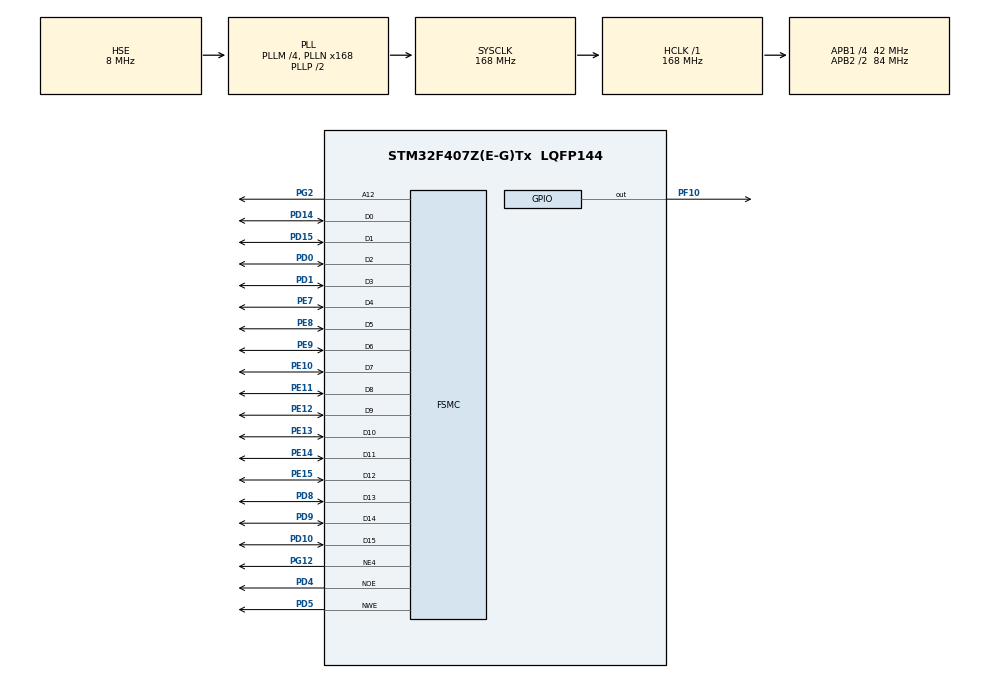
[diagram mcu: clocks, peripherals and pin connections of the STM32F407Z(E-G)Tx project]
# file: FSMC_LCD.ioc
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Mcu.Family=STM32F4
Mcu.Name=STM32F407Z(E-G)Tx
Mcu.Package=LQFP144
NVIC.PriorityGroup=NVIC_PRIORITYGROUP_4
NVIC.TIM7_IRQn=true\:0\:0\:false\:false\:true\:true\:true\:true
PA13.Mode=Serial_Wire
PA13.Signal=SYS_JTMS-SWDIO
PA14.Mode=Serial_Wire
PA14.Signal=SYS_JTCK-SWCLK
PD0.Signal=FSMC_D2_DA2
PD1.Signal=FSMC_D3_DA3
PD10.Signal=FSMC_D15_DA15
PD14.Signal=FSMC_D0_DA0
PD15.Signal=FSMC_D1_DA1
PD4.Signal=FSMC_NOE
PD5.Signal=FSMC_NWE
PD8.Signal=FSMC_D13_DA13
PD9.Signal=FSMC_D14_DA14
PE10.Signal=FSMC_D7_DA7
PE11.Signal=FSMC_D8_DA8
PE12.Signal=FSMC_D9_DA9
PE13.Signal=FSMC_D10_DA10
PE14.Signal=FSMC_D11_DA11
PE15.Signal=FSMC_D12_DA12
PE7.Signal=FSMC_D4_DA4
PE8.Signal=FSMC_D5_DA5
PE9.Signal=FSMC_D6_DA6
PF10.Signal=GPIO_Output
PG12.Mode=NorPsramChipSelect4_4
PG12.Signal=FSMC_NE4
PG2.Signal=FSMC_A12
PH0-OSC_IN.Mode=HSE-External-Oscillator
PH0-OSC_IN.Signal=RCC_OSC_IN
PH1-OSC_OUT.Mode=HSE-External-Oscillator
PH1-OSC_OUT.Signal=RCC_OSC_OUT
ProjectManager.HeapSize=0x400
ProjectManager.StackSize=0x1000
ProjectManager.TargetToolchain=MDK-ARM V5.32
RCC.48MHZClocksFreq_Value=84000000
RCC.AHBFreq_Value=168000000
RCC.APB1CLKDivider=RCC_HCLK_DIV4
RCC.APB1Freq_Value=42000000
RCC.APB1TimFreq_Value=84000000
RCC.APB2CLKDivider=RCC_HCLK_DIV2
RCC.APB2Freq_Value=84000000
RCC.APB2TimFreq_Value=168000000
RCC.CortexFreq_Value=168000000
RCC.HCLKFreq_Value=168000000
RCC.HSE_VALUE=8000000
RCC.HSI_VALUE=16000000
RCC.LSE_VALUE=32768
RCC.PLLM=4
RCC.PLLN=168
RCC.PLLSourceVirtual=RCC_PLLSOURCE_HSE
RCC.SYSCLKFreq_VALUE=168000000
RCC.SYSCLKSource=RCC_SYSCLKSOURCE_PLLCLK
RCC.VCOOutputFreq_Value=336000000
SH.FSMC_A12.0=FSMC_A12,A12_4
SH.FSMC_D0_DA0.0=FSMC_D0,16b-d4
SH.FSMC_D10_DA10.0=FSMC_D10,16b-d4
SH.FSMC_D11_DA11.0=FSMC_D11,16b-d4
SH.FSMC_D12_DA12.0=FSMC_D12,16b-d4
SH.FSMC_D13_DA13.0=FSMC_D13,16b-d4
SH.FSMC_D14_DA14.0=FSMC_D14,16b-d4
SH.FSMC_D15_DA15.0=FSMC_D15,16b-d4
SH.FSMC_D1_DA1.0=FSMC_D1,16b-d4
SH.FSMC_D2_DA2.0=FSMC_D2,16b-d4
SH.FSMC_D3_DA3.0=FSMC_D3,16b-d4
SH.FSMC_D4_DA4.0=FSMC_D4,16b-d4
SH.FSMC_D5_DA5.0=FSMC_D5,16b-d4
SH.FSMC_D6_DA6.0=FSMC_D6,16b-d4
SH.FSMC_D7_DA7.0=FSMC_D7,16b-d4
SH.FSMC_D8_DA8.0=FSMC_D8,16b-d4
SH.FSMC_D9_DA9.0=FSMC_D9,16b-d4
SH.FSMC_NOE.0=FSMC_NOE,Lcd4
SH.FSMC_NWE.0=FSMC_NWE,Lcd4
TIM7.Period=1000-1
TIM7.Prescaler=168/2-1
VP_TIM7_VS_ClockSourceINT.Mode=Enable_Timer
board=custom

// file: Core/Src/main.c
/* USER CODE BEGIN Header */
/**
  ******************************************************************************
  * @file           : main.c
  * @brief          : Main program body
  ******************************************************************************
  * @attention
  *
  * Copyright (c) 2025 STMicroelectronics.
  * All rights reserved.
  *
  * This software is licensed under terms that can be found in the LICENSE file
  * in the root directory of this software component.
  * If no LICENSE file comes with this software, it is provided AS-IS.
  *
  ******************************************************************************
  */
/* USER CODE END Header */
#include "main.h"
#include "tim.h"
#include "gpio.h"
#include "fsmc.h"

/* USER CODE BEGIN Includes */

#include "ili9341.h"
#include "XPT2046_touch.h"

#include "lvgl.h"                // 它为整个LVGL提供了更完整的头文件引用
#include "lv_port_disp_template.h"        // LVGL的显示支持
#include "lv_port_indev_template.h"

/* USER CODE END Includes */

/* USER CODE BEGIN PV */

lv_obj_t *myLabel=NULL;

/* USER CODE END PV */

void SystemClock_Config(void);
/* USER CODE BEGIN PFP */

static void myBtn_event(lv_event_t *event);

/* USER CODE END PFP */

int main(void)
{

  /* MCU Configuration--------------------------------------------------------*/

  /* Reset of all peripherals, Initializes the Flash interface and the Systick. */
  HAL_Init();

  /* Configure the system clock */
  SystemClock_Config();

  /* Initialize all configured peripherals */
  MX_GPIO_Init();
  MX_FSMC_Init();
  MX_TIM7_Init();
  /* USER CODE BEGIN 2 */

//  lcdInit();
//  XPT2046_Init();

  HAL_TIM_Base_Start_IT(&htim7);

  HAL_Delay(100);

  lv_init();                             // LVGL 初始化
  lv_port_disp_init();                   // 注册LVGL的显示任务
  lv_port_indev_init();                  // 注册LVGL的触屏检测任务

//  lcdTest();

    // 按钮
  lv_obj_t *myBtn = lv_btn_create(lv_scr_act());                               // 创建按钮; 父对象：当前活动屏幕
  lv_obj_set_pos(myBtn, 10, 10);                                               // 设置坐标
  lv_obj_set_size(myBtn, 100, 50);                                             // 设置大小
  lv_obj_add_event_cb(myBtn, myBtn_event, LV_EVENT_CLICKED, NULL);
//  lv_obj_center(myBtn);

      // 按钮
//    lv_obj_t *myBtn = lv_btn_create(lv_scr_act());                               // 创建按钮; 父对象：当前活动屏幕
//    lv_obj_set_pos(myBtn, 50, 50);                                               // 设置坐标
//    lv_obj_set_size(myBtn, 100, 150);                                             // 设置大小

    // 按钮上的文本
    lv_obj_t *label_btn = lv_label_create(myBtn);                                // 创建文本标签，父对象：上面的btn按钮
    lv_obj_align(label_btn, LV_ALIGN_LEFT_MID, 0, 0);                              // 对齐于：父对象
    lv_label_set_text(label_btn, "Test");                                        // 设置标签的文本
//		lv_obj_set_size(label_btn, 100, 150);
    // 独立的标签
    myLabel = lv_label_create(lv_scr_act());                           // 创建文本标签; 父对象：当前活动屏幕
    lv_label_set_text(myLabel, "Hello world!");                                  // 设置标签的文本
//    lv_obj_align(myLabel, LV_ALIGN_CENTER, 0, 0);                                // 对齐于：父对象
//    lv_obj_align_to(myBtn, myLabel, LV_ALIGN_OUT_TOP_MID, 0, -20);               // 对齐于：某对象
    lv_obj_set_pos(myLabel, 100, 120);                                               // 设置坐标
    lv_obj_set_size(myLabel, 50, 70);

  /* USER CODE END 2 */

  /* Infinite loop */
  /* USER CODE BEGIN WHILE */
  while (1)
  {
    lv_timer_handler();
//    HAL_Delay(5);
    /* USER CODE END WHILE */

  }
}

void SystemClock_Config(void)
{
  RCC_OscInitTypeDef RCC_OscInitStruct = {0};
  RCC_ClkInitTypeDef RCC_ClkInitStruct = {0};

  /** Configure the main internal regulator output voltage
  */
  __HAL_RCC_PWR_CLK_ENABLE();
  __HAL_PWR_VOLTAGESCALING_CONFIG(PWR_REGULATOR_VOLTAGE_SCALE1);

  /** Initializes the RCC Oscillators according to the specified parameters
  * in the RCC_OscInitTypeDef structure.
  */
  RCC_OscInitStruct.OscillatorType = RCC_OSCILLATORTYPE_HSE;
  RCC_OscInitStruct.HSEState = RCC_HSE_ON;
  RCC_OscInitStruct.PLL.PLLState = RCC_PLL_ON;
  RCC_OscInitStruct.PLL.PLLSource = RCC_PLLSOURCE_HSE;
  RCC_OscInitStruct.PLL.PLLM = 4;
  RCC_OscInitStruct.PLL.PLLN = 168;
  RCC_OscInitStruct.PLL.PLLP = RCC_PLLP_DIV2;
  RCC_OscInitStruct.PLL.PLLQ = 4;
  if (HAL_RCC_OscConfig(&RCC_OscInitStruct) != HAL_OK)
  {
    Error_Handler();
  }

  /** Initializes the CPU, AHB and APB buses clocks
  */
  RCC_ClkInitStruct.ClockType = RCC_CLOCKTYPE_HCLK|RCC_CLOCKTYPE_SYSCLK
                              |RCC_CLOCKTYPE_PCLK1|RCC_CLOCKTYPE_PCLK2;
  RCC_ClkInitStruct.SYSCLKSource = RCC_SYSCLKSOURCE_PLLCLK;
  RCC_ClkInitStruct.AHBCLKDivider = RCC_SYSCLK_DIV1;
  RCC_ClkInitStruct.APB1CLKDivider = RCC_HCLK_DIV4;
  RCC_ClkInitStruct.APB2CLKDivider = RCC_HCLK_DIV2;

  if (HAL_RCC_ClockConfig(&RCC_ClkInitStruct, FLASH_LATENCY_5) != HAL_OK)
  {
    Error_Handler();
  }
}

/* USER CODE BEGIN 4 */

// 按钮的事件回调函数
static void myBtn_event(lv_event_t *event)
{
    lv_obj_t *btn = lv_event_get_target(event);                    // 获得调用这个回调函数的对象
    lv_event_code_t code = lv_event_get_code(event);
    if (code == LV_EVENT_CLICKED)
    {
        static uint8_t cnt = 0;
        cnt++;
        lv_obj_t *label = lv_obj_get_child(btn, NULL);             // 获取第1个子对象(我们在设计时，已安排了它的第1个子对象是一个label对象)
        lv_label_set_text_fmt(label, "Button: %d", cnt);           // 设置标签的文本，写法类似printf
        lv_label_set_text_fmt(myLabel, "Hello world A %d! ", cnt);
    }
}

/* USER CODE END 4 */

void Error_Handler(void)
{
  __disable_irq();
  while (1)
  {
  }
}
